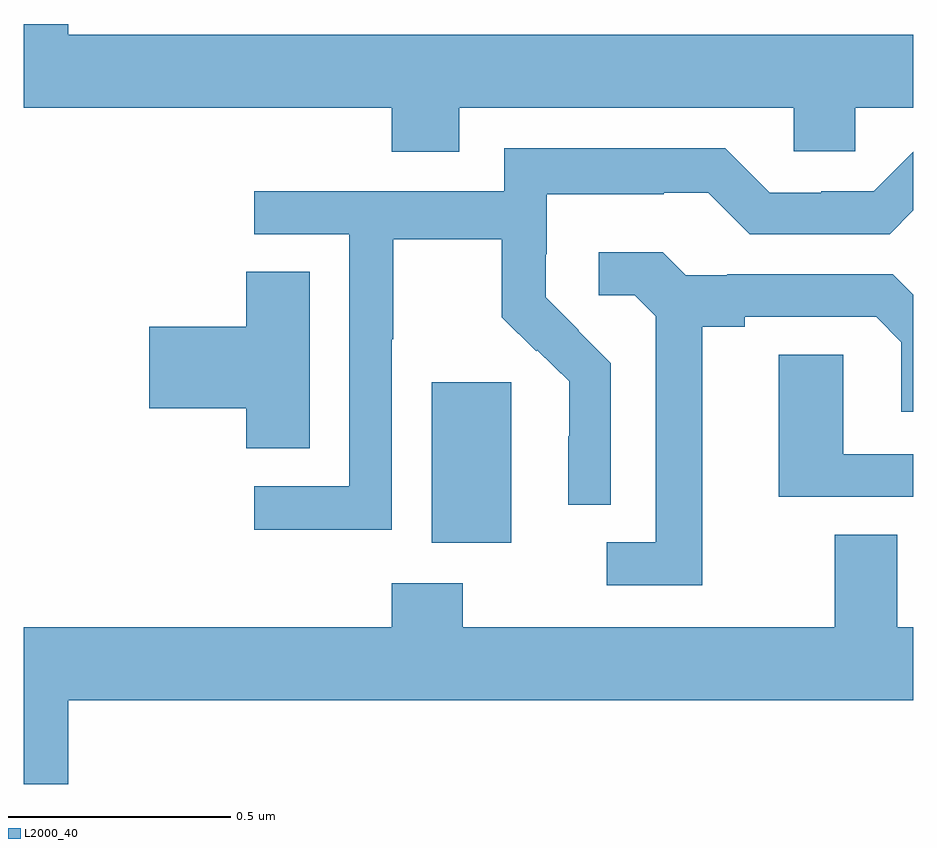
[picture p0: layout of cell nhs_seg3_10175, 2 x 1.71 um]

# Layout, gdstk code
import gdstk
lib = gdstk.Library(unit=1e-6, precision=1e-09)
def R(c, l, rs):  # rectangles x0, y0, x1, y1
    for r in rs: c.add(gdstk.rectangle(r[:2], r[2:], *l))
def P(c, l, *ps):  # polygons
    for p in ps: c.add(gdstk.Polygon(p, *l))
L2000_40 = (2000, 40)

nhs_seg3_10175 = lib.new_cell('nhs_seg3_10175')
R(nhs_seg3_10175, L2000_40, [(237.917,737.234,238.096,737.595)])
P(nhs_seg3_10175, L2000_40, [(237.1,738.4),(237,738.4),(237,738.212),(237.827,738.212),(237.827,738.113),(237.979,738.113),(237.979,738.212),(238.731,738.212),(238.731,738.114),(238.869,738.114),(238.869,738.212),(239,738.212),(239,738.376),(237.1,738.376)],
  [(237.828,737.692),(237.831,737.692),(237.831,737.916),(238.075,737.916),(238.075,737.741),(238.152,737.664),(238.155,737.667),(238.226,737.597),(238.226,737.474),(238.224,737.474),(238.224,737.32),(238.32,737.32),(238.32,737.638),(238.247,737.711),(238.248,737.712),(238.174,737.786),(238.174,737.883),(238.176,737.883),(238.176,738.017),(238.439,738.017),(238.439,738.021),(238.539,738.021),(238.632,737.928),(238.947,737.928),(239,737.981),(239,738.113),(238.911,738.024),(238.793,738.024),(238.793,738.021),(238.677,738.021),(238.577,738.121),(238.08,738.121),(238.08,738.024),(237.519,738.024),(237.519,737.928),(237.732,737.928),(237.732,737.361),(237.519,737.361),(237.519,737.263),(237.828,737.263)],
  [(238.525,737.72),(238.621,737.72),(238.621,737.742),(238.916,737.742),(238.973,737.685),(238.973,737.529),(239,737.529),(239,737.792),(238.954,737.838),(238.582,737.838),(238.582,737.835),(238.488,737.835),(238.436,737.887),(238.293,737.887),(238.293,737.79),(238.374,737.79),(238.421,737.743),(238.421,737.235),(238.311,737.235),(238.311,737.139),(238.525,737.139)],
  [(237.643,737.843),(237.5,737.843),(237.5,737.72),(237.282,737.72),(237.282,737.537),(237.5,737.537),(237.5,737.446),(237.643,737.446)],
  [(239,737.433),(238.842,737.433),(238.842,737.657),(238.697,737.657),(238.697,737.337),(239,737.337)],
  [(237.1,736.88),(239,736.88),(239,737.044),(238.963,737.044),(238.963,737.252),(238.823,737.252),(238.823,737.044),(237.987,737.044),(237.987,737.143),(237.827,737.143),(237.827,737.044),(237,737.044),(237,736.692),(237.1,736.692)])

lib.write_gds('nhs_seg3_10175.gds')
